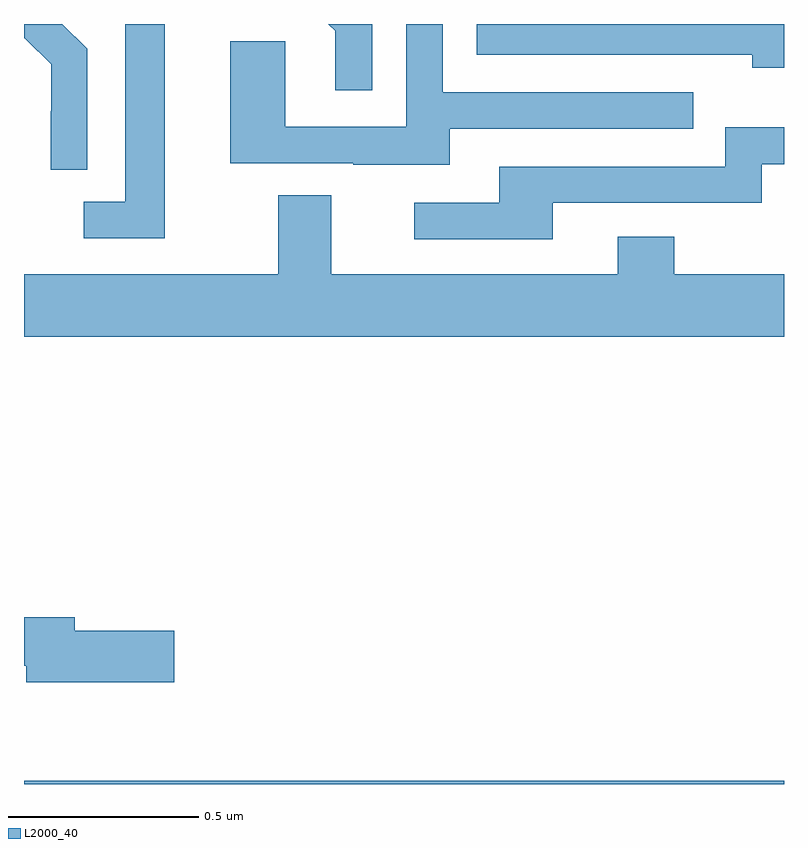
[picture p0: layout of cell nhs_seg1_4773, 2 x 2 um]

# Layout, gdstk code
import gdstk
lib = gdstk.Library(unit=1e-6, precision=1e-09)
def R(c, l, rs):  # rectangles x0, y0, x1, y1
    for r in rs: c.add(gdstk.rectangle(r[:2], r[2:], *l))
def P(c, l, *ps):  # polygons
    for p in ps: c.add(gdstk.Polygon(p, *l))
L2000_40 = (2000, 40)

nhs_seg1_4773 = lib.new_cell('nhs_seg1_4773')
R(nhs_seg1_4773, L2000_40, [(170,573.199,172,573.208)])
P(nhs_seg1_4773, L2000_40, [(170.371,575.199),(170.267,575.199),(170.267,574.731),(170.157,574.731),(170.157,574.635),(170.371,574.635)],
  [(170.916,575.199),(170.801,575.199),(170.819,575.181),(170.819,575.025),(170.916,575.025)],
  [(171.121,574.923),(171.761,574.923),(171.761,575.019),(171.102,575.019),(171.102,575.199),(171.006,575.199),(171.006,574.929),(170.688,574.929),(170.688,575.153),(170.543,575.153),(170.543,574.833),(170.867,574.833),(170.867,574.829),(171.121,574.829)],
  [(170.166,575.134),(170.101,575.199),(170,575.199),(170,575.162),(170.001,575.163),(170.005,575.159),(170.072,575.093),(170.072,574.97),(170.07,574.97),(170.07,574.816),(170.166,574.816)],
  [(172,575.199),(171.192,575.199),(171.192,575.118),(171.917,575.118),(171.917,575.084),(172,575.084)],
  [(171.391,574.728),(171.942,574.728),(171.942,574.83),(172,574.83),(172,574.927),(171.846,574.927),(171.846,574.824),(171.251,574.824),(171.251,574.728),(171.027,574.728),(171.027,574.632),(171.391,574.632)],
  [(172,574.54),(171.711,574.54),(171.711,574.639),(171.563,574.639),(171.563,574.54),(170.809,574.54),(170.809,574.748),(170.669,574.748),(170.669,574.54),(170,574.54),(170,574.376),(172,574.376)],
  [(170.395,573.602),(170.134,573.602),(170.134,573.638),(170,573.638),(170,573.51),(170.006,573.51),(170.006,573.467),(170.395,573.467)])

lib.write_gds('nhs_seg1_4773.gds')
